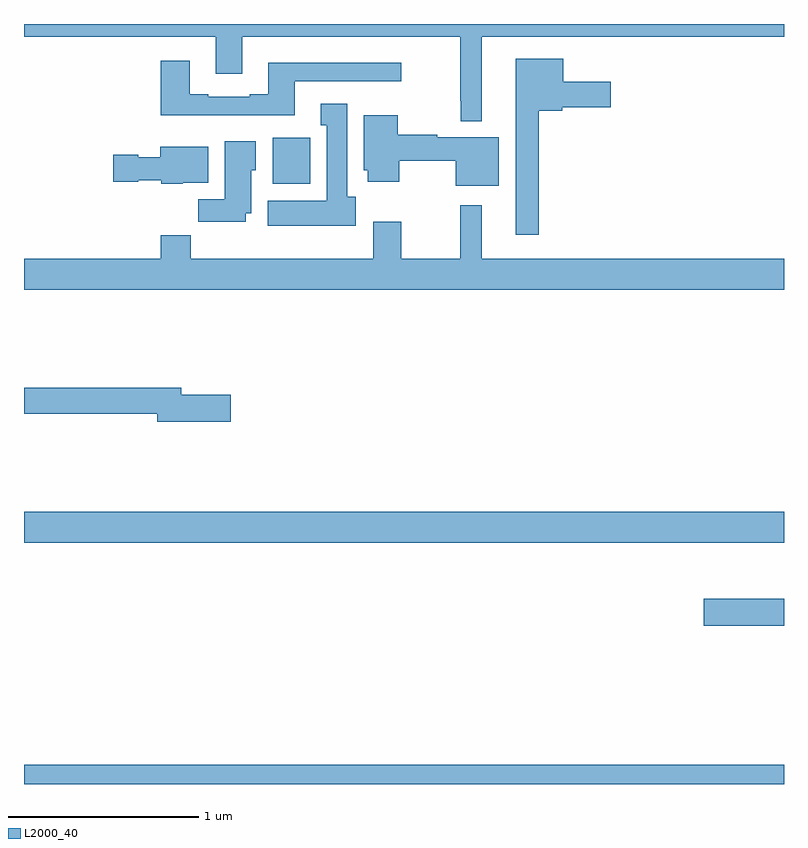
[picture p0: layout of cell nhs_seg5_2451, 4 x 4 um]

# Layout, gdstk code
import gdstk
lib = gdstk.Library(unit=1e-6, precision=1e-09)
def R(c, l, rs):  # rectangles x0, y0, x1, y1
    for r in rs: c.add(gdstk.rectangle(r[:2], r[2:], *l))
def P(c, l, *ps):  # polygons
    for p in ps: c.add(gdstk.Polygon(p, *l))
L2000_40 = (2000, 40)

nhs_seg5_2451 = lib.new_cell('nhs_seg5_2451')
R(nhs_seg5_2451, L2000_40, [(253,880.799,257,880.9), (256.578,881.633,257,881.775), (253,882.068,257,882.232), (254.309,883.958,254.506,884.2)])
P(nhs_seg5_2451, L2000_40, [(255.409,884.732),(257,884.732),(257,884.799),(253,884.799),(253,884.732),(254.009,884.732),(254.009,884.538),(254.149,884.538),(254.149,884.732),(255.295,884.732),(255.295,884.395),(255.298,884.395),(255.298,884.288),(255.409,884.288)],
  [(255.709,884.342),(255.834,884.342),(255.834,884.36),(256.087,884.36),(256.087,884.494),(255.838,884.494),(255.838,884.617),(255.587,884.617),(255.587,883.689),(255.709,883.689)],
  [(254.425,884.499),(254.986,884.499),(254.986,884.596),(254.285,884.596),(254.285,884.428),(254.189,884.428),(254.189,884.415),(253.969,884.415),(253.969,884.428),(253.873,884.428),(253.873,884.605),(253.721,884.605),(253.721,884.318),(254.425,884.318)],
  [(254.746,883.89),(254.701,883.89),(254.701,884.38),(254.561,884.38),(254.561,884.267),(254.594,884.267),(254.594,883.87),(254.282,883.87),(254.282,883.736),(254.746,883.736)],
  [(255.499,884.203),(255.176,884.203),(255.176,884.216),(254.968,884.216),(254.968,884.32),(254.789,884.32),(254.789,884.028),(254.81,884.028),(254.81,883.968),(254.976,883.968),(254.976,884.08),(255.272,884.08),(255.272,883.949),(255.499,883.949)],
  [(254.167,883.802),(254.197,883.802),(254.197,884.028),(254.221,884.028),(254.221,884.182),(254.057,884.182),(254.057,883.876),(253.918,883.876),(253.918,883.758),(254.167,883.758)],
  [(253.836,883.964),(253.969,883.964),(253.969,884.152),(253.718,884.152),(253.718,884.098),(253.602,884.098),(253.602,884.111),(253.47,884.111),(253.47,883.969),(253.602,883.969),(253.602,883.976),(253.722,883.976),(253.722,883.958),(253.836,883.958)],
  [(253.721,883.688),(253.721,883.564),(253,883.564),(253,883.4),(257,883.4),(257,883.564),(255.409,883.564),(255.409,883.846),(255.295,883.846),(255.295,883.564),(254.985,883.564),(254.985,883.759),(254.837,883.759),(254.837,883.564),(253.877,883.564),(253.877,883.688)],
  [(254.089,882.848),(253.828,882.848),(253.828,882.884),(253,882.884),(253,882.748),(253.7,882.748),(253.7,882.706),(254.089,882.706)])

lib.write_gds('nhs_seg5_2451.gds')
